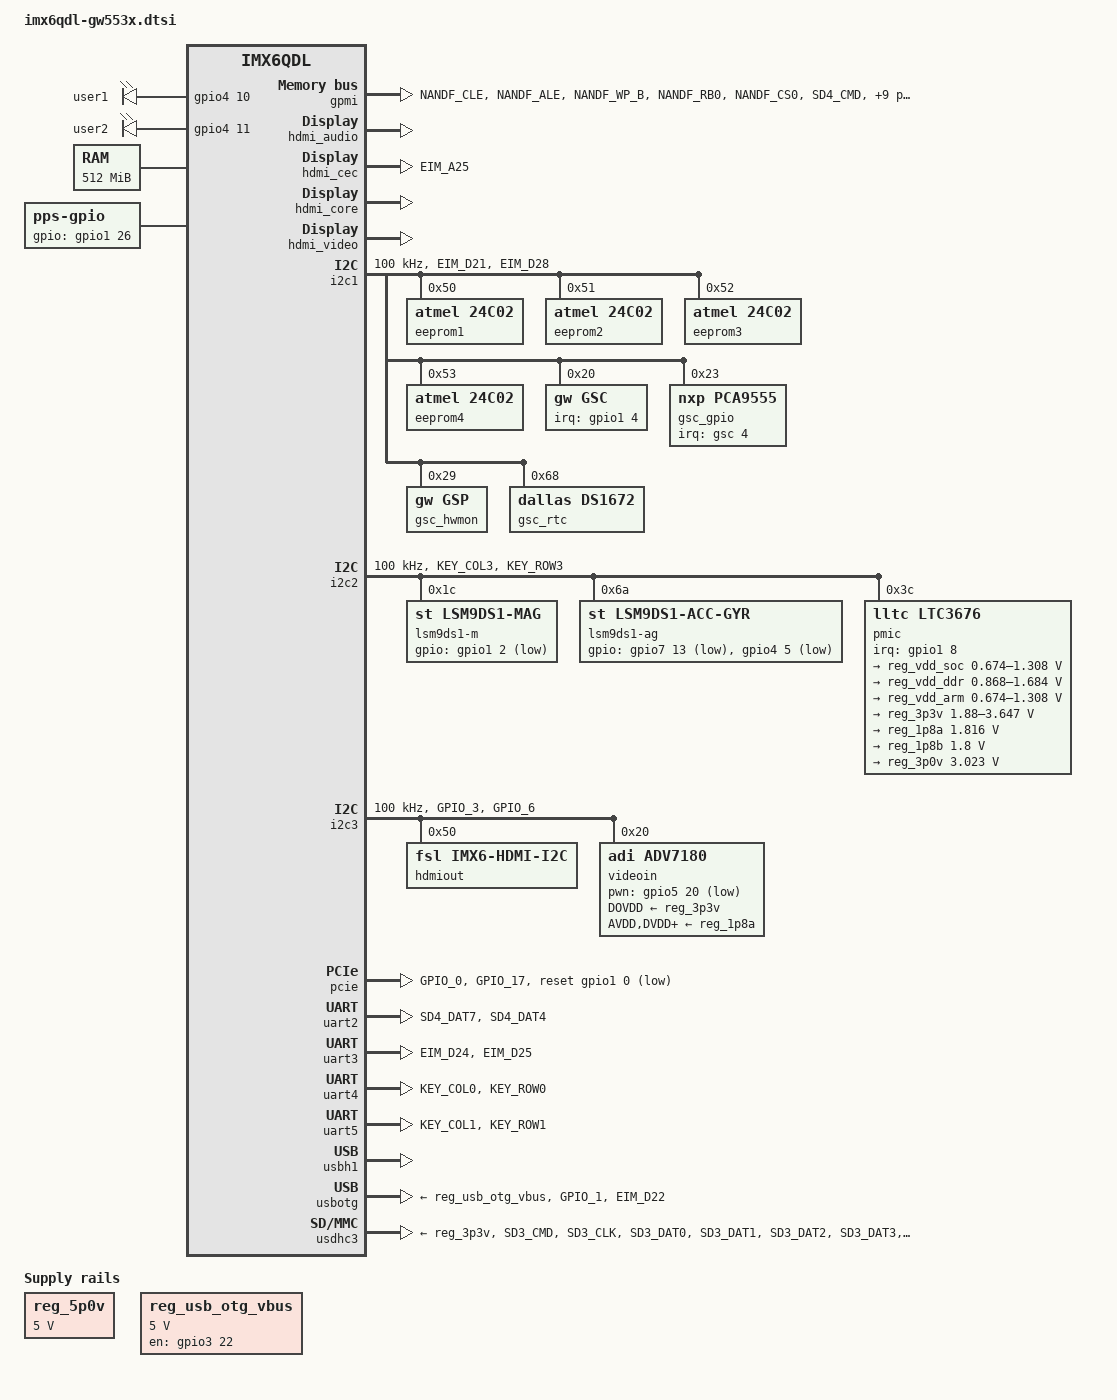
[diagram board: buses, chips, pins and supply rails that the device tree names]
/*
 * Copyright 2015 Gateworks Corporation
 *
 * The code contained herein is licensed under the GNU General Public
 * License. You may obtain a copy of the GNU General Public License
 * Version 2 or later at the following locations:
 *
 * http://www.opensource.org/licenses/gpl-license.html
 * http://www.gnu.org/copyleft/gpl.html
 */

/ {
	/* these are used by bootloader for disabling nodes */
	aliases {
		led0 = &led0;
		led1 = &led1;
		mxcfb0 = &mxcfb1;
		nand = &gpmi;
		usb0 = &usbh1;
		usb1 = &usbotg;
		usdhc2 = &usdhc3;
	};

	chosen {
		bootargs = "console=ttymxc1,115200";
	};

	leds {
		compatible = "gpio-leds";
		pinctrl-names = "default";
		pinctrl-0 = <&pinctrl_gpio_leds>;

		led0: user1 {
			label = "user1";
			gpios = <&gpio4 10 GPIO_ACTIVE_HIGH>; /* MX6_PANLEDG */
			default-state = "on";
			linux,default-trigger = "heartbeat";
		};

		led1: user2 {
			label = "user2";
			gpios = <&gpio4 11 GPIO_ACTIVE_HIGH>; /* MX6_PANLEDR */
			default-state = "off";
		};
	};

	memory {
		reg = <0x10000000 0x20000000>;
	};

	pps {
		compatible = "pps-gpio";
		pinctrl-names = "default";
		pinctrl-0 = <&pinctrl_pps>;
		gpios = <&gpio1 26 GPIO_ACTIVE_HIGH>;
		status = "okay";
	};

	regulators {
		compatible = "simple-bus";
		#address-cells = <1>;
		#size-cells = <0>;

		reg_5p0v: regulator@0 {
			compatible = "regulator-fixed";
			reg = <0>;
			regulator-name = "5P0V";
			regulator-min-microvolt = <5000000>;
			regulator-max-microvolt = <5000000>;
			regulator-always-on;
		};

		reg_usb_otg_vbus: regulator@1 {
			compatible = "regulator-fixed";
			reg = <1>;
			regulator-name = "usb_otg_vbus";
			regulator-min-microvolt = <5000000>;
			regulator-max-microvolt = <5000000>;
			gpio = <&gpio3 22 GPIO_ACTIVE_HIGH>;
			enable-active-high;
		};
	};

	sound-hdmi {
		compatible = "fsl,imx6q-audio-hdmi",
			     "fsl,imx-audio-hdmi";
		model = "imx-audio-hdmi";
		hdmi-controller = <&hdmi_audio>;
	};

	mxcfb1: fb@0 {
		/* hdmi */
		compatible = "fsl,mxc_sdc_fb";
		disp_dev = "hdmi";
		interface_pix_fmt = "RGB24";
		mode_str ="1920x1080M@60";
		default_bpp = <24>;
		int_clk = <0>;
		late_init = <0>;
		status = "okay";
	};

	cap0: v4l2_cap_0 {
		compatible = "fsl,imx6q-v4l2-capture";
		ipu_id = <0>;
		csi_id = <0>;
		mclk_source = <0>;
		status = "okay";
	};

	v4l2_out {
		compatible = "fsl,mxc_v4l2_output";
		status = "okay";
	};
};

&gpc {
	fsl,ldo-bypass = <0>;
};

&gpmi {
	pinctrl-names = "default";
	pinctrl-0 = <&pinctrl_gpmi_nand>;
	status = "okay";
};

&hdmi_audio {
	status = "okay";
};

&hdmi_cec {
	pinctrl-names = "default";
	pinctrl-0 = <&pinctrl_hdmi>;
	status = "okay";
};

&hdmi_core {
	ipu_id = <0>;
	disp_id = <0>;
	status = "okay";
};

&hdmi_video {
	fsl,phy_reg_vlev = <0x0294>;
	fsl,phy_reg_cksymtx = <0x800d>;
	status = "okay";
};

&i2c1 {
	clock-frequency = <100000>;
	pinctrl-names = "default";
	pinctrl-0 = <&pinctrl_i2c1>;
	status = "okay";

	eeprom1: eeprom@50 {
		compatible = "atmel,24c02";
		reg = <0x50>;
		pagesize = <16>;
	};

	eeprom2: eeprom@51 {
		compatible = "atmel,24c02";
		reg = <0x51>;
		pagesize = <16>;
	};

	eeprom3: eeprom@52 {
		compatible = "atmel,24c02";
		reg = <0x52>;
		pagesize = <16>;
	};

	eeprom4: eeprom@53 {
		compatible = "atmel,24c02";
		reg = <0x53>;
		pagesize = <16>;
	};

	gsc: gsc@20 {
		compatible = "gw,gsc";
		reg = <0x20>;
		pinctrl-names = "default";
		pinctrl-0 = <&pinctrl_gsc>;
		interrupt-parent = <&gpio1>;
		interrupts = <4 GPIO_ACTIVE_LOW>;
		interrupt-controller;
		#interrupt-cells = <1>;

		/* GSC watchdog */
		watchdog {
			compatible = "gw,gsc_wdt";
			status = "okay";
		};

		/* Linux input events from GSC interrupt events */
		input {
			compatible = "gw,gsc_input";
			interrupt-parent = <&gsc>;
			interrupts = <0 1 2 5 7>;
			interrupt-names = "button", "key-erased", "eeprom-wp", "tamper", "button-held";
			status = "okay";
		};
	};

	gsc_gpio: pca9555@23 {
		compatible = "nxp,pca9555";
		reg = <0x23>;
		gpio-controller;
		#gpio-cells = <2>;
		interrupt-parent = <&gsc>;
		interrupts = <4>;
	};

	gsc_hwmon: hwmon@29 {
		compatible = "gw,gsp";
		reg = <0x29>;
	};

	gsc_rtc: ds1672@68 {
		compatible = "dallas,ds1672";
		reg = <0x68>;
	};
};

&i2c2 {
	clock-frequency = <100000>;
	pinctrl-names = "default";
	pinctrl-0 = <&pinctrl_i2c2>;
	status = "okay";

	/* LSM9DS1 magnetic sensor */
	lsm9ds1-m@0x1c {
		compatible = "st,lsm9ds1-mag";
		reg = <0x1C>;
		pinctrl-names = "default";
		pinctrl-0 = <&pinctrl_imu_mag>;
		gpios = <&gpio1 2 GPIO_ACTIVE_LOW>; /* IRQ */
		rot-matrix = /bits/ 16 <(1) (0) (0)
			(0) (1) (0)
			(0) (0) (1)>;
		poll-interval = <100>;
		min-interval = <13>;
		fs-range = <0>;
	};

	/* LSM9DS1 accelerometer/gyroscope sensor */
	lsm9ds1-ag@0x6a {
		compatible = "st,lsm9ds1-acc-gyr";
		reg = <0x6A>;
		pinctrl-names = "default";
		pinctrl-0 = <&pinctrl_imu_acc>;
		gpios = <&gpio7 13 GPIO_ACTIVE_LOW>, /* INT1 */
		        <&gpio4 5  GPIO_ACTIVE_LOW>; /* INT2 */
		rot-matrix = /bits/ 16 <(1) (0) (0)
			(0) (1) (0)
			(0) (0) (1)>;
		g-poll-interval = <100>;
		g-min-interval = <2>;
		g-fs-range = <0>;
		x-poll-interval = <100>;
		x-min-interval = <1>;
		x-fs-range = <0>;
		aa-filter-bw = <0>;
	};

	pmic: ltc3676@3c {
		compatible = "lltc,ltc3676";
		reg = <0x3c>;
		pinctrl-names = "default";
		pinctrl-0 = <&pinctrl_pmic>;
		interrupt-parent = <&gpio1>;
		interrupts = <8 IRQ_TYPE_EDGE_FALLING>;

		regulators {
			/* VDD_SOC (1+R1/R2 = 1.635) */
			reg_vdd_soc: sw1 {
				regulator-name = "vddsoc";
				regulator-min-microvolt = <674400>;
				regulator-max-microvolt = <1308000>;
				lltc,fb-voltage-divider = <127000 200000>;
				regulator-ramp-delay = <7000>;
				regulator-boot-on;
				regulator-always-on;
				linux,phandle = <&reg_vdd_soc>;
			};

			/* VDD_DDR (1+R1/R2 = 2.105) */
			reg_vdd_ddr: sw2 {
				regulator-name = "vddddr";
				regulator-min-microvolt = <868310>;
				regulator-max-microvolt = <1684000>;
				lltc,fb-voltage-divider = <301000 200000>;
				regulator-ramp-delay = <7000>;
				regulator-boot-on;
				regulator-always-on;
			};

			/* VDD_ARM (1+R1/R2 = 1.635) */
			reg_vdd_arm: sw3 {
				regulator-name = "vddarm";
				regulator-min-microvolt = <674400>;
				regulator-max-microvolt = <1308000>;
				lltc,fb-voltage-divider = <127000 200000>;
				regulator-ramp-delay = <7000>;
				regulator-boot-on;
				regulator-always-on;
				linux,phandle = <&reg_vdd_arm>;
			};

			/* VDD_3P3 (1+R1/R2 = 1.281) */
			reg_3p3v: sw4 {
				regulator-name = "vdd3p3";
				regulator-min-microvolt = <1880000>;
				regulator-max-microvolt = <3647000>;
				lltc,fb-voltage-divider = <200000 56200>;
				regulator-ramp-delay = <7000>;
				regulator-boot-on;
				regulator-always-on;
			};

			/* VDD_1P8a (1+R1/R2 = 2.505): Analog Video Decoder */
			reg_1p8a: ldo2 {
				regulator-name = "vdd1p8a";
				regulator-min-microvolt = <1816125>;
				regulator-max-microvolt = <1816125>;
				lltc,fb-voltage-divider = <301000 200000>;
				regulator-boot-on;
				regulator-always-on;
			};

			/* VDD_1P8b: microSD VDD_1P8 */
			reg_1p8b: ldo3 {
				regulator-name = "vdd1p8b";
				regulator-min-microvolt = <1800000>;
				regulator-max-microvolt = <1800000>;
				regulator-boot-on;
			};

			/* VDD_HIGH (1+R1/R2 = 4.17) */
			reg_3p0v: ldo4 {
				regulator-name = "vdd3p0";
				regulator-min-microvolt = <3023250>;
				regulator-max-microvolt = <3023250>;
				lltc,fb-voltage-divider = <634000 200000>;
				regulator-boot-on;
				regulator-always-on;
			};
		};
	};
};

&i2c3 {
	clock-frequency = <100000>;
	pinctrl-names = "default";
	pinctrl-0 = <&pinctrl_i2c3>;
	status = "okay";

	hdmiout: edid@50 {
		compatible = "fsl,imx6-hdmi-i2c";
		reg = <0x50>;
	};

	/* Analog VideoIn */
	videoin: adv7180@20 {
		compatible = "adi,adv7180";
		reg = <0x20>;
		pinctrl-names = "default";
		pinctrl-0 = <&pinctrl_ipu1>; /* IPU1_CSI0 no DE */
		clocks = <&clks 201>;
		clock-names = "csi_mclk";
		DOVDD-supply = <&reg_3p3v>;
		AVDD-supply = <&reg_1p8a>;
		DVDD-supply = <&reg_1p8a>;
		PVDD-supply = <&reg_1p8a>;
		pwn-gpios = <&gpio5 20 GPIO_ACTIVE_LOW>;  /* powerdown */
		/* mclk required but not used */
		mclk = <24000000>;
		mclk_source = <0>;
		ipu_id = <0>;
		csi_id = <0>;
		cvbs = <1>;
	};
};

&pcie {
	pinctrl-names = "default";
	pinctrl-0 = <&pinctrl_pcie>;
	reset-gpio = <&gpio1 0 GPIO_ACTIVE_LOW>;
	status = "okay";
};

&pwm2 {
	pinctrl-names = "default";
	pinctrl-0 = <&pinctrl_pwm2>; /* MX6_DIO1 */
	status = "disabled";
};

&pwm3 {
	pinctrl-names = "default";
	pinctrl-0 = <&pinctrl_pwm3>; /* MX6_DIO2 */
	status = "disabled";
};

&pwm4 {
	pinctrl-names = "default";
	pinctrl-0 = <&pinctrl_pwm4>; /* MX6_DIO3 */
	status = "disabled";
};

&uart2 {
	pinctrl-names = "default";
	pinctrl-0 = <&pinctrl_uart2>;
	status = "okay";
};

&uart3 {
	pinctrl-names = "default";
	pinctrl-0 = <&pinctrl_uart3>;
	status = "okay";
};

&uart4 {
	pinctrl-names = "default";
	pinctrl-0 = <&pinctrl_uart4>;
	status = "okay";
};

&uart5 {
	pinctrl-names = "default";
	pinctrl-0 = <&pinctrl_uart5>;
	status = "okay";
};

&usbh1 {
	status = "okay";
};

&usbotg {
	vbus-supply = <&reg_usb_otg_vbus>;
	pinctrl-names = "default";
	pinctrl-0 = <&pinctrl_usbotg>;
	disable-over-current;
	srp-disable;
	hnp-disable;
	adp-disable;
	status = "okay";
};

&usdhc3 {
	pinctrl-names = "default", "state_100mhz", "state_200mhz";
	pinctrl-0 = <&pinctrl_usdhc3>;
	pinctrl-1 = <&pinctrl_usdhc3_100mhz>;
	pinctrl-2 = <&pinctrl_usdhc3_200mhz>;
	cd-gpios = <&gpio7 0 GPIO_ACTIVE_LOW>;
	vmmc-supply = <&reg_3p3v>;
	no-1-8-v; /* firmware will remove if board revision supports */
	status = "okay";
};

&wdog1 {
	pinctrl-names = "default";
	pinctrl-0 = <&pinctrl_wdog>;
	ext-reset-output;
};

&iomuxc {
	imx6qdl-gw553x {
		pinctrl_gpmi_nand: gpminandgrp {
			fsl,pins = <
				MX6QDL_PAD_NANDF_CLE__NAND_CLE		0xb0b1
				MX6QDL_PAD_NANDF_ALE__NAND_ALE		0xb0b1
				MX6QDL_PAD_NANDF_WP_B__NAND_WP_B	0xb0b1
				MX6QDL_PAD_NANDF_RB0__NAND_READY_B	0xb000
				MX6QDL_PAD_NANDF_CS0__NAND_CE0_B	0xb0b1
				MX6QDL_PAD_SD4_CMD__NAND_RE_B		0xb0b1
				MX6QDL_PAD_SD4_CLK__NAND_WE_B		0xb0b1
				MX6QDL_PAD_NANDF_D0__NAND_DATA00	0xb0b1
				MX6QDL_PAD_NANDF_D1__NAND_DATA01	0xb0b1
				MX6QDL_PAD_NANDF_D2__NAND_DATA02	0xb0b1
				MX6QDL_PAD_NANDF_D3__NAND_DATA03	0xb0b1
				MX6QDL_PAD_NANDF_D4__NAND_DATA04	0xb0b1
				MX6QDL_PAD_NANDF_D5__NAND_DATA05	0xb0b1
				MX6QDL_PAD_NANDF_D6__NAND_DATA06	0xb0b1
				MX6QDL_PAD_NANDF_D7__NAND_DATA07	0xb0b1
			>;
		};

		pinctrl_gsc: gscgrp {
			fsl,pins = <
				MX6QDL_PAD_GPIO_4__GPIO1_IO04 		0x0001b0b0
			 >;
		};

		pinctrl_hdmi: hdmigrp {
			fsl,pins = <
				MX6QDL_PAD_EIM_A25__HDMI_TX_CEC_LINE	0x1f8b0
			>;
		};

		pinctrl_i2c1: i2c1grp {
			fsl,pins = <
				MX6QDL_PAD_EIM_D21__I2C1_SCL		0x4001b8b1
				MX6QDL_PAD_EIM_D28__I2C1_SDA		0x4001b8b1
			>;
		};

		pinctrl_i2c2: i2c2grp {
			fsl,pins = <
				MX6QDL_PAD_KEY_COL3__I2C2_SCL		0x4001b8b1
				MX6QDL_PAD_KEY_ROW3__I2C2_SDA		0x4001b8b1
			>;
		};

		pinctrl_i2c3: i2c3grp {
			fsl,pins = <
				MX6QDL_PAD_GPIO_3__I2C3_SCL		0x4001b8b1
				MX6QDL_PAD_GPIO_6__I2C3_SDA		0x4001b8b1
			>;
		};

		pinctrl_imu_mag: gpioimxmaggrp {
			fsl,pins = <
				MX6QDL_PAD_GPIO_2__GPIO1_IO02	0x1b0b0 /* IRQ */
				MX6QDL_PAD_GPIO_7__GPIO1_IO07	0x1b0b0 /* data ready */
			>;
		};

		pinctrl_imu_acc: gpioimxaccgrp {
			fsl,pins = <
				MX6QDL_PAD_GPIO_18__GPIO7_IO13	0x1b0b0 /* INT1 */
				MX6QDL_PAD_GPIO_19__GPIO4_IO05	0x1b0b0 /* INT2 */
				MX6QDL_PAD_GPIO_9__GPIO1_IO09	0x4001b0b0 /* Data enable */
			>;
		};

		pinctrl_gpio_leds: gpioledsgrp {
			fsl,pins = <
				MX6QDL_PAD_KEY_COL2__GPIO4_IO10		0x1b0b0
				MX6QDL_PAD_KEY_ROW2__GPIO4_IO11		0x1b0b0
			>;
		};

		pinctrl_ipu1: ipu1grp { /* IPU1_CSI0: 8-bit input */
			fsl,pins = <
				MX6QDL_PAD_CSI0_DAT12__IPU1_CSI0_DATA12		0x10
				MX6QDL_PAD_CSI0_DAT13__IPU1_CSI0_DATA13		0x10
				MX6QDL_PAD_CSI0_DAT14__IPU1_CSI0_DATA14		0x10
				MX6QDL_PAD_CSI0_DAT15__IPU1_CSI0_DATA15		0x10
				MX6QDL_PAD_CSI0_DAT16__IPU1_CSI0_DATA16		0x10
				MX6QDL_PAD_CSI0_DAT17__IPU1_CSI0_DATA17		0x10
				MX6QDL_PAD_CSI0_DAT18__IPU1_CSI0_DATA18		0x10
				MX6QDL_PAD_CSI0_DAT19__IPU1_CSI0_DATA19		0x10
				MX6QDL_PAD_CSI0_PIXCLK__IPU1_CSI0_PIXCLK	0x10
				MX6QDL_PAD_CSI0_MCLK__IPU1_CSI0_HSYNC		0x10
				MX6QDL_PAD_CSI0_VSYNC__IPU1_CSI0_VSYNC		0x10
				MX6QDL_PAD_CSI0_DATA_EN__GPIO5_IO20		0x4001b0b0 /* VIDDEC_EN */
				MX6QDL_PAD_CSI0_DAT5__GPIO5_IO23		0x0001b0b0 /* VIDDEC_IRQ# */
			>;
		};

		pinctrl_pcie: pciegrp {
			fsl,pins = <
				MX6QDL_PAD_GPIO_0__GPIO1_IO00		0x1b0b0
				MX6QDL_PAD_GPIO_17__GPIO7_IO12		0x4001b0b0 /* PCIESKT_WDIS# */
			>;
		};

		pinctrl_pmic: pmicgrp {
			fsl,pins = <
				MX6QDL_PAD_GPIO_8__GPIO1_IO08		0x0001b0b0
			>;
		};

		pinctrl_pps: ppsgrp {
			fsl,pins = <
				MX6QDL_PAD_ENET_RXD1__GPIO1_IO26	0x1b0b1
			>;
		};

		pinctrl_pwm2: pwm2grp {
			fsl,pins = <
				MX6QDL_PAD_SD1_DAT2__PWM2_OUT		0x1b0b1
			>;
		};

		pinctrl_pwm3: pwm3grp {
			fsl,pins = <
				MX6QDL_PAD_SD4_DAT1__PWM3_OUT		0x1b0b1
			>;
		};

		pinctrl_pwm4: pwm4grp {
			fsl,pins = <
				MX6QDL_PAD_SD1_CMD__PWM4_OUT		0x1b0b1
			>;
		};

		pinctrl_uart2: uart2grp {
			fsl,pins = <
				MX6QDL_PAD_SD4_DAT7__UART2_TX_DATA	0x1b0b1
				MX6QDL_PAD_SD4_DAT4__UART2_RX_DATA	0x1b0b1
			>;
		};

		pinctrl_uart3: uart3grp {
			fsl,pins = <
				MX6QDL_PAD_EIM_D24__UART3_TX_DATA	0x1b0b1
				MX6QDL_PAD_EIM_D25__UART3_RX_DATA	0x1b0b1
			>;
		};

		pinctrl_uart4: uart4grp {
			fsl,pins = <
				MX6QDL_PAD_KEY_COL0__UART4_TX_DATA	0x1b0b1
				MX6QDL_PAD_KEY_ROW0__UART4_RX_DATA	0x1b0b1
			>;
		};

		pinctrl_uart5: uart5grp {
			fsl,pins = <
				MX6QDL_PAD_KEY_COL1__UART5_TX_DATA	0x1b0b1
				MX6QDL_PAD_KEY_ROW1__UART5_RX_DATA	0x1b0b1
			>;
		};

		pinctrl_usbotg: usbotggrp {
			fsl,pins = <
				MX6QDL_PAD_GPIO_1__USB_OTG_ID		0x17059
				MX6QDL_PAD_EIM_D22__GPIO3_IO22		0x1b0b0 /* OTG_PWR_EN */
			>;
		};

		pinctrl_usdhc3: usdhc3grp {
			fsl,pins = <
				MX6QDL_PAD_SD3_CMD__SD3_CMD		0x17059
				MX6QDL_PAD_SD3_CLK__SD3_CLK		0x10059
				MX6QDL_PAD_SD3_DAT0__SD3_DATA0		0x17059
				MX6QDL_PAD_SD3_DAT1__SD3_DATA1		0x17059
				MX6QDL_PAD_SD3_DAT2__SD3_DATA2		0x17059
				MX6QDL_PAD_SD3_DAT3__SD3_DATA3		0x17059
				MX6QDL_PAD_SD3_DAT5__GPIO7_IO00		0x17059 /* CD */
				MX6QDL_PAD_NANDF_CS1__SD3_VSELECT	0x17059
			>;
		};

		pinctrl_usdhc3_100mhz: usdhc3grp100mhz {
			fsl,pins = <
				MX6QDL_PAD_SD3_CMD__SD3_CMD		0x170b9
				MX6QDL_PAD_SD3_CLK__SD3_CLK		0x100b9
				MX6QDL_PAD_SD3_DAT0__SD3_DATA0		0x170b9
				MX6QDL_PAD_SD3_DAT1__SD3_DATA1		0x170b9
				MX6QDL_PAD_SD3_DAT2__SD3_DATA2		0x170b9
				MX6QDL_PAD_SD3_DAT3__SD3_DATA3		0x170b9
				MX6QDL_PAD_SD3_DAT5__GPIO7_IO00		0x170b9 /* CD */
				MX6QDL_PAD_NANDF_CS1__SD3_VSELECT	0x170b9
			>;
		};

		pinctrl_usdhc3_200mhz: usdhc3grp200mhz {
			fsl,pins = <
				MX6QDL_PAD_SD3_CMD__SD3_CMD		0x170f9
				MX6QDL_PAD_SD3_CLK__SD3_CLK		0x100f9
				MX6QDL_PAD_SD3_DAT0__SD3_DATA0		0x170f9
				MX6QDL_PAD_SD3_DAT1__SD3_DATA1		0x170f9
				MX6QDL_PAD_SD3_DAT2__SD3_DATA2		0x170f9
				MX6QDL_PAD_SD3_DAT3__SD3_DATA3		0x170f9
				MX6QDL_PAD_SD3_DAT5__GPIO7_IO00		0x170f9 /* CD */
				MX6QDL_PAD_NANDF_CS1__SD3_VSELECT	0x170f9
			>;
		};

		pinctrl_wdog: wdoggrp {
			fsl,pins = <
				MX6QDL_PAD_DISP0_DAT8__WDOG1_B		0x1b0b0
			>;
		};
	};
};
